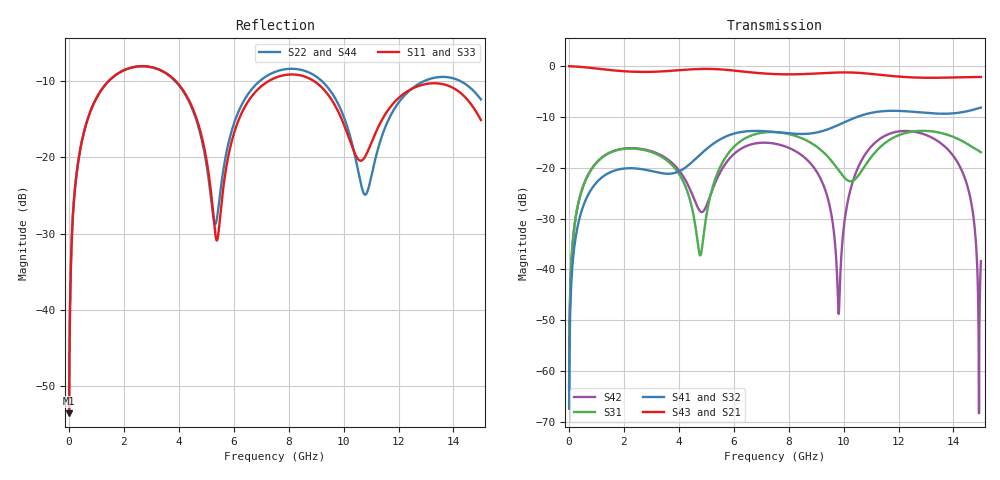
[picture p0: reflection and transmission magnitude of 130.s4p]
! Created with skrf 1.8.0 (http://scikit-rf.org).
# GHz S RI R 50.0
!freq ReS11 ImS11 ReS12 ImS12 ReS13 ImS13
! ReS14 ImS14
! ReS21 ImS21 ReS22 ImS22 ReS23 ImS23
! ReS24 ImS24
! ReS31 ImS31 ReS32 ImS32 ReS33 ImS33
! ReS34 ImS34
! ReS41 ImS41 ReS42 ImS42 ReS43 ImS43
! ReS44 ImS44
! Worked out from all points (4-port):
!   2499 points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, 5 MHz to 15 GHz, reference 50 ohm
!   strongest paths, dB at 5 MHz, 3.476 GHz, 7.19 GHz, 11.1 GHz, 15 GHz:
!     S43: 0.0, -1.0, -1.5, -1.6, -2.2
!     S21: 0.0, -1.0, -1.5, -1.6, -2.1
!     S41: -67.4, -21.1, -12.8, -9.1, -8.2
!     S32: -67.4, -21.2, -12.8, -9.1, -8.1
!     S31: -63.4, -18.2, -13.0, -17.3, -16.9
!     S42: -63.4, -17.9, -15.1, -15.3, -38.4
!   lowest |S11| = -53.5 dB at 5 MHz (marker M1), VSWR 1.00, Z = 50.2 + j0.128 ohm
!   |S11| at or under -10 dB: start of sweep to 1.456 GHz; 3.875 GHz to 7.291 GHz (3.416 GHz wide, 61.2 % of centre); 8.901 GHz to end of sweep
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0.005  0.00168 0.00127  0.9983 -0.00326  8.45e-05 0.00067  -8.2e-05 -0.000419
       0.9983 -0.00326  0.00168 0.00127  -8.2e-05 -0.000419  8.45e-05 0.00067
       8.45e-05 0.00067  -8.2e-05 -0.000419  0.00168 0.00127  0.9983 -0.00326
       -8.2e-05 -0.000419  8.45e-05 0.00067  0.9983 -0.00326  0.00168 0.00127
0.4126719  0.0384 0.1062  0.9465 -0.2629  0.0188 0.0502  -0.0156 -0.0304
           0.9465 -0.2629  0.0384 0.1062  -0.0156 -0.0304  0.019 0.0501
           0.0188 0.0502  -0.0156 -0.0304  0.0384 0.1062  0.9465 -0.2629
           -0.0156 -0.0304  0.019 0.0501  0.9465 -0.2629  0.0384 0.1062
1.975823  0.3473 0.1241  0.3461 -0.8212  0.1498 0.0316  -0.0942 0.0272
          0.3461 -0.8212  0.3465 0.1249  -0.0942 0.0272  0.1519 0.0264
          0.1498 0.0316  -0.0942 0.0272  0.3475 0.1242  0.346 -0.8212
          -0.0942 0.0272  0.1519 0.0264  0.346 -0.8212  0.3467 0.1249
8.278449  0.3461 -0.0139  -0.0101 0.8304  0.1505 -0.1383  0.2062 -0.0627
          -0.0101 0.8304  0.3736 -0.0521  0.206 -0.0612  0.1417 -0.026
          0.1505 -0.1383  0.206 -0.0612  0.3455 -0.016  -0.00867 0.8307
          0.2062 -0.0627  0.1417 -0.026  -0.00867 0.8307  0.3726 -0.0515
9.822843  0.1585 -0.1145  0.6565 0.5639  -0.0592 -0.0734  0.1645 -0.2072
          0.6565 0.5639  0.1437 -0.1656  0.1666 -0.2054  0.0032 0.00175
          -0.0592 -0.0734  0.1666 -0.2054  0.1548 -0.1168  0.6583 0.562
          0.1645 -0.2072  0.0032 0.00175  0.6583 0.562  0.1455 -0.1633
13.51188  0.3022 -0.0158  0.1512 -0.7553  0.1733 -0.1372  -0.3404 0.00726
          0.1512 -0.7553  0.3346 -0.00481  -0.3409 0.00421  0.1691 -0.0511
          0.1733 -0.1372  -0.3409 0.00421  0.3055 -0.0138  0.1454 -0.7548
          -0.3404 0.00726  0.1691 -0.0511  0.1454 -0.7548  0.3386 -0.0108
15  0.1626 -0.065  -0.4837 -0.6139  -0.0919 -0.1088  -0.2995 0.2513
    -0.4837 -0.6139  0.2027 -0.1258  -0.3024 0.2485  -0.00492 0.011
    -0.0919 -0.1088  -0.3024 0.2485  0.1655 -0.0678  -0.4883 -0.6087
    -0.2995 0.2513  -0.00492 0.011  -0.4883 -0.6087  0.2043 -0.1316
